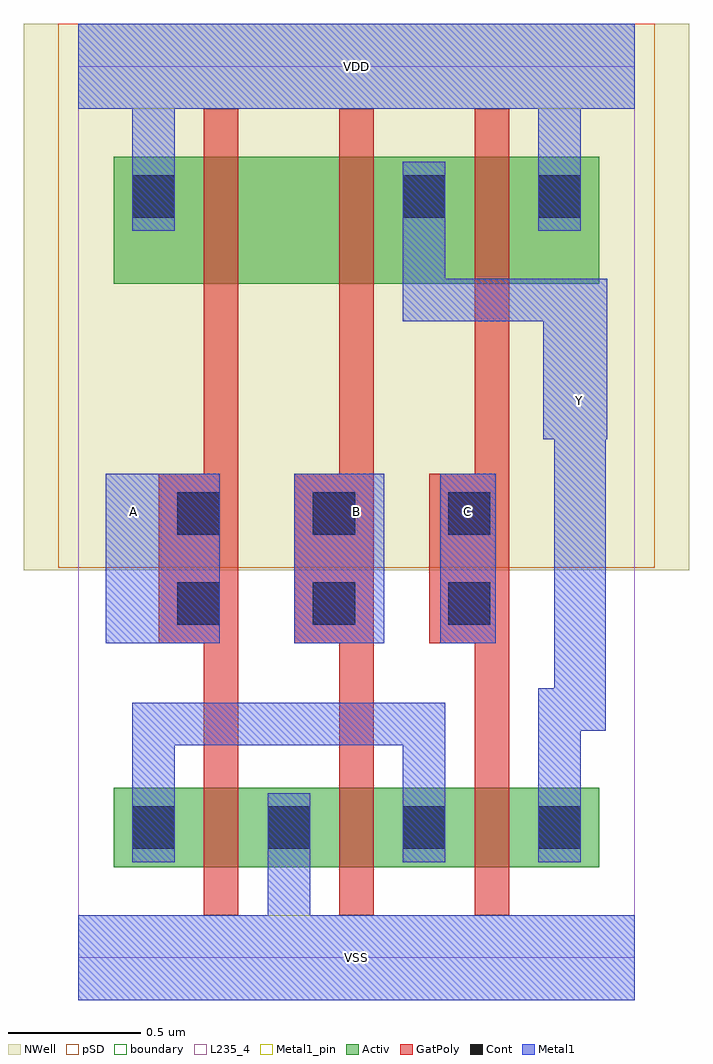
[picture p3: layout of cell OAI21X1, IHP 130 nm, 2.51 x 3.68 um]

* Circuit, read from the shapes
.subckt OAI21X1 A B C VDD VSS Y
XM1 VSS A n1 VSUBS sg13_lv_nmos w=0.3u l=0.13u
XM2 n1 B VSS VSUBS sg13_lv_nmos w=0.3u l=0.13u
XM3 Y C n1 VSUBS sg13_lv_nmos w=0.3u l=0.13u
XM4 n2 A VDD n3 sg13_lv_pmos w=0.48u l=0.13u
XM5 Y B n2 n3 sg13_lv_pmos w=0.48u l=0.13u
XM6 VDD C Y n3 sg13_lv_pmos w=0.48u l=0.13u
.ends

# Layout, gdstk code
import gdstk
lib = gdstk.Library(unit=1e-6, precision=1e-09)
def R(c, l, rs):  # rectangles x0, y0, x1, y1
    for r in rs: c.add(gdstk.rectangle(r[:2], r[2:], *l))
def A(c, l, x, y, w, h, nx, ny, dx, dy):  # array of equal rectangles
    R(c, l, [(x+i*dx, y+j*dy, x+i*dx+w, y+j*dy+h) for i in range(nx) for j in range(ny)])
def P(c, l, *ps):  # polygons
    for p in ps: c.add(gdstk.Polygon(p, *l))
Activ = (1, 0)
GatPoly = (5, 0)
Cont = (6, 0)
Metal1 = (8, 0)
Metal1_pin = (8, 2)
pSD = (14, 0)
NWell = (31, 0)
boundary = (189, 4)
L235_4 = (235, 4)

oai21x1 = lib.new_cell('OAI21X1')
R(oai21x1, Activ, [(0.135,0.34,1.965,0.64), (0.135,2.54,1.965,3.02)])
P(oai21x1, GatPoly, [(1.495,0.16),(1.495,1.185),(1.325,1.185),(1.325,1.825),(1.495,1.825),(1.495,3.2),(1.625,3.2),(1.625,0.16)],
  [(0.985,0.16),(0.985,1.185),(0.815,1.185),(0.815,1.825),(0.985,1.825),(0.985,3.2),(1.115,3.2),(1.115,0.16)],
  [(0.475,0.16),(0.475,1.185),(0.305,1.185),(0.305,1.825),(0.475,1.825),(0.475,3.2),(0.605,3.2),(0.605,0.16)])
A(oai21x1, Cont, 0.205, 0.41, 0.16, 0.16, 4, 1, 0.51, 0)
A(oai21x1, Cont, 0.375, 1.255, 0.16, 0.16, 3, 2, 0.51, 0.34)
R(oai21x1, Cont, [(0.205,2.79,0.365,2.95), (1.225,2.79,1.385,2.95), (1.735,2.79,1.895,2.95)])
R(oai21x1, Metal1, [(0,-0.16,2.1,0.16), (0.105,1.185,0.535,1.825), (0.815,1.185,1.155,1.825), (1.365,1.185,1.575,1.825)])
P(oai21x1, Metal1, [(0.205,2.74),(0.205,3.2),(0,3.2),(0,3.52),(2.1,3.52),(2.1,3.2),(1.895,3.2),(1.895,2.74),(1.735,2.74),(1.735,3.2),(0.365,3.2),(0.365,2.74)],
  [(0,-0.16),(0,0.16),(0.715,0.16),(0.715,0.62),(0.875,0.62),(0.875,0.16),(2.1,0.16),(2.1,-0.16)],
  [(1.735,0.36),(1.735,1.015),(1.795,1.015),(1.795,1.955),(1.755,1.955),(1.755,2.4),(1.225,2.4),(1.225,3),(1.385,3),(1.385,2.56),(1.995,2.56),(1.995,1.955),(1.99,1.955),(1.99,0.855),(1.895,0.855),(1.895,0.36)],
  [(0.205,0.36),(0.205,0.96),(1.385,0.96),(1.385,0.36),(1.225,0.36),(1.225,0.8),(0.365,0.8),(0.365,0.36)])
R(oai21x1, Metal1_pin, [(0,-0.16,2.1,0.16), (0.105,1.185,0.535,1.825), (0.815,1.185,1.155,1.825), (1.365,1.185,1.575,1.825), (1.755,1.955,1.995,2.56), (0,3.2,2.1,3.52)])
P(oai21x1, Metal1_pin, [(1.735,0.36),(1.735,1.015),(1.795,1.015),(1.795,1.955),(1.755,1.955),(1.755,2.4),(1.225,2.4),(1.225,3),(1.385,3),(1.385,2.56),(1.995,2.56),(1.995,1.955),(1.99,1.955),(1.99,0.855),(1.895,0.855),(1.895,0.36)])
R(oai21x1, pSD, [(-0.075,1.47,2.175,3.52)])
R(oai21x1, NWell, [(-0.205,1.46,2.305,3.52)])
R(oai21x1, boundary, [(0,0,2.1,3.36)])
R(oai21x1, L235_4, [(0,0,2.1,3.36)])
oai21x1.add(gdstk.Label('VSS', (1.05,0), layer=8, texttype=25))
oai21x1.add(gdstk.Label('VDD', (1.05,3.36), layer=8, texttype=25))
oai21x1.add(gdstk.Label('Y', (1.89,2.1), layer=8, texttype=25))
oai21x1.add(gdstk.Label('C', (1.47,1.68), layer=8, texttype=25))
oai21x1.add(gdstk.Label('B', (1.05,1.68), layer=8, texttype=25))
oai21x1.add(gdstk.Label('A', (0.21,1.68), layer=8, texttype=25))

lib.write_gds('OAI21X1.gds')
